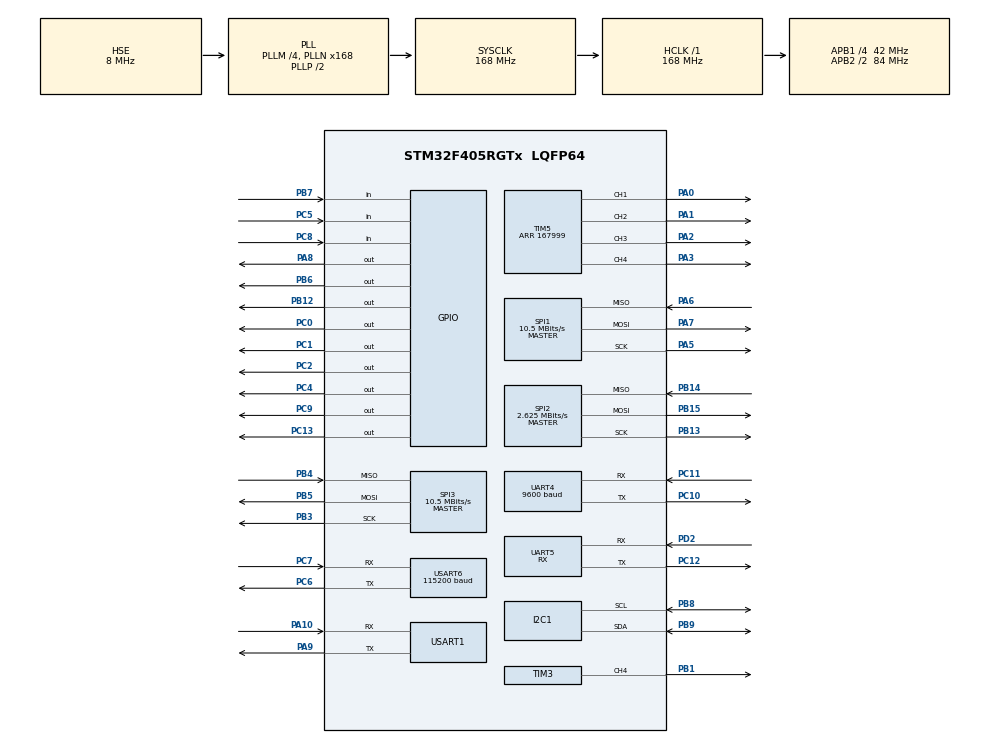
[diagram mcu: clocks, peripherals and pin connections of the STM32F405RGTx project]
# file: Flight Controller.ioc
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Mcu.Family=STM32F4
VP_TIM5_VS_ClockSourceINT.Mode=Internal
PA6.Mode=Full_Duplex_Master
PH0-OSC_IN.Signal=RCC_OSC_IN
RCC.CortexFreq_Value=168000000
SPI3.Direction=SPI_DIRECTION_2LINES
SPI3.VirtualType=VM_MASTER
SPI1.VirtualType=VM_MASTER
SPI2.VirtualType=VM_MASTER
PC10.Signal=UART4_TX
PC12.Signal=UART5_TX
SH.S_TIM5_CH2.0=TIM5_CH2,PWM Generation2 CH2
PB13.Signal=SPI2_SCK
PB15.Signal=SPI2_MOSI
TIM3.Channel-PWM\ Generation4\ CH4=TIM_CHANNEL_4
RCC.SYSCLKSource=RCC_SYSCLKSOURCE_PLLCLK
ProjectManager.StackSize=0x400
NVIC.UART5_IRQn=true\:0\:0\:false\:false\:true\:true\:true
VP_TIM7_VS_ClockSourceINT.Mode=Enable_Timer
Dma.USART1_TX.0.Priority=DMA_PRIORITY_LOW
SPI1.CLKPolarity=SPI_POLARITY_HIGH
SPI2.CLKPolarity=SPI_POLARITY_HIGH
Dma.USART1_TX.0.Direction=DMA_MEMORY_TO_PERIPH
SPI3.CLKPolarity=SPI_POLARITY_HIGH
SPI1.Direction=SPI_DIRECTION_2LINES
UART4.BaudRate=9600
RCC.HCLKFreq_Value=168000000
RCC.APB2TimFreq_Value=168000000
TIM3.Period=20
PB6.Signal=GPIO_Output
PC7.Signal=USART6_RX
SH.S_TIM5_CH3.0=TIM5_CH3,PWM Generation3 CH3
SPI1.CalculateBaudRate=10.5 MBits/s
TIM7.Period=1
RCC.AHBFreq_Value=168000000
SPI2.BaudRatePrescaler=SPI_BAUDRATEPRESCALER_16
TIM5.Pulse-PWM\ Generation1\ CH1=0
PH0-OSC_IN.Mode=HSE-External-Oscillator
RCC.HSE_VALUE=8000000
PB3.Mode=Full_Duplex_Master
PC13-ANTI_TAMP.Signal=GPIO_Output
PB4.Mode=Full_Duplex_Master
TIM5.Channel-PWM\ Generation4\ CH4=TIM_CHANNEL_4
PB14.Mode=Full_Duplex_Master
TIM3.Prescaler=999
TIM5.Pulse-PWM\ Generation3\ CH3=0
PB5.Mode=Full_Duplex_Master
SPI2.CalculateBaudRate=2.625 MBits/s
PB7.Signal=GPIO_Input
PA8.Signal=GPIO_Output
Dma.USART1_TX.0.PeriphDataAlignment=DMA_PDATAALIGN_BYTE
PH1-OSC_OUT.Mode=HSE-External-Oscillator
Mcu.Package=LQFP64
PB9.Signal=I2C1_SDA
PB1.Signal=S_TIM3_CH4
PA6.Signal=SPI1_MISO
NVIC.DMA2_Stream7_IRQn=true\:0\:0\:false\:false\:true\:false\:true
SPI2.Mode=SPI_MODE_MASTER
SPI3.Mode=SPI_MODE_MASTER
USART6.VirtualMode=VM_ASYNC
PA10.Signal=USART1_RX
Dma.USART1_TX.0.Instance=DMA2_Stream7
USART6.BaudRate=115200
TIM7.AutoReloadPreload=TIM_AUTORELOAD_PRELOAD_ENABLE
PC11.Mode=Asynchronous
Dma.USART1_TX.0.FIFOMode=DMA_FIFOMODE_DISABLE
SPI2.CLKPhase=SPI_PHASE_2EDGE
RCC.APB2CLKDivider=RCC_HCLK_DIV2
RCC.APB1TimFreq_Value=84000000
SH.S_TIM5_CH1.0=TIM5_CH1,PWM Generation1 CH1
SPI2.Direction=SPI_DIRECTION_2LINES
PC5.Signal=GPIO_Input
PB13.Mode=Full_Duplex_Master
TIM5.OCFastMode_PWM-PWM\ Generation4\ CH4=TIM_OCFAST_ENABLE
NVIC.USART1_IRQn=true\:0\:0\:false\:false\:true\:true\:true
Dma.Request0=USART1_TX
SPI1.BaudRatePrescaler=SPI_BAUDRATEPRESCALER_8
NVIC.TIM7_IRQn=true\:0\:0\:false\:false\:true\:true\:true
VP_TIM3_VS_ClockSourceINT.Mode=Internal
PB4.Signal=SPI3_MISO
PA3.Signal=S_TIM5_CH4
NVIC.UART4_IRQn=true\:0\:0\:false\:false\:true\:true\:true
PA5.Mode=Full_Duplex_Master
RCC.PLLSourceVirtual=RCC_PLLSOURCE_HSE
TIM5.Pulse-PWM\ Generation2\ CH2=0
Dma.USART1_TX.0.MemInc=DMA_MINC_ENABLE
PA7.Mode=Full_Duplex_Master
Dma.USART1_TX.0.PeriphInc=DMA_PINC_DISABLE
PA10.Mode=Asynchronous
TIM3.AutoReloadPreload=TIM_AUTORELOAD_PRELOAD_ENABLE
PC11.Signal=UART4_RX
PC8.Signal=GPIO_Input
PC2.Signal=GPIO_Output
PC4.Signal=GPIO_Output
PC6.Signal=USART6_TX
PC10.Mode=Asynchronous
TIM5.Channel-PWM\ Generation3\ CH3=TIM_CHANNEL_3
SPI1.CLKPhase=SPI_PHASE_2EDGE
UART5.VirtualMode=Asynchronous
PC0.Signal=GPIO_Output
RCC.APB1CLKDivider=RCC_HCLK_DIV4
UART4.VirtualMode=Asynchronous
PC13-ANTI_TAMP.PinState=GPIO_PIN_SET
TIM5.AutoReloadPreload=TIM_AUTORELOAD_PRELOAD_ENABLE
PA0-WKUP.Signal=S_TIM5_CH1
NVIC.USART6_IRQn=true\:0\:0\:false\:false\:true\:true\:true
PA9.Mode=Asynchronous
TIM5.OCFastMode_PWM-PWM\ Generation3\ CH3=TIM_OCFAST_ENABLE
ProjectManager.TargetToolchain=STM32CubeIDE
I2C1.I2C_Mode=I2C_Fast
PC6.Mode=Asynchronous
PB9.Mode=I2C
PA9.Signal=USART1_TX
RCC.LSE_VALUE=32768
PA1.Signal=S_TIM5_CH2
PB14.Signal=SPI2_MISO
PD2.Mode=Asynchronous
PA5.Signal=SPI1_SCK
PC12.Mode=Asynchronous
Dma.USART1_TX.0.Mode=DMA_NORMAL
TIM7.Prescaler=41999
board=custom
SPI3.CLKPhase=SPI_PHASE_2EDGE
RCC.VCOOutputFreq_Value=336000000
PB15.Mode=Full_Duplex_Master
RCC.APB2Freq_Value=84000000
SPI3.CalculateBaudRate=10.5 MBits/s
SPI1.Mode=SPI_MODE_MASTER
SPI3.BaudRatePrescaler=SPI_BAUDRATEPRESCALER_4
PH1-OSC_OUT.Signal=RCC_OSC_OUT
SH.S_TIM5_CH4.0=TIM5_CH4,PWM Generation4 CH4
UART5.Mode=MODE_RX
Mcu.Name=STM32F405RGTx
PA2.Signal=S_TIM5_CH3
TIM5.OCFastMode_PWM-PWM\ Generation1\ CH1=TIM_OCFAST_ENABLE
RCC.48MHZClocksFreq_Value=84000000
PB3.Signal=SPI3_SCK
TIM3.OCFastMode_PWM-PWM\ Generation4\ CH4=TIM_OCFAST_ENABLE
TIM5.Channel-PWM\ Generation2\ CH2=TIM_CHANNEL_2
RCC.SYSCLKFreq_VALUE=168000000
PB5.Signal=SPI3_MOSI
USART1.VirtualMode=VM_ASYNC
Dma.USART1_TX.0.MemDataAlignment=DMA_MDATAALIGN_BYTE
TIM5.Channel-PWM\ Generation1\ CH1=TIM_CHANNEL_1
ProjectManager.HeapSize=0x200
RCC.HSI_VALUE=16000000
NVIC.PriorityGroup=NVIC_PRIORITYGROUP_4
RCC.PLLM=4
PB8.Mode=I2C
RCC.PLLN=168
PB8.Signal=I2C1_SCL
TIM5.Period=167999
PC9.Signal=GPIO_Output
PC7.Mode=Asynchronous
PD2.Signal=UART5_RX
RCC.APB1Freq_Value=42000000
TIM3.Pulse-PWM\ Generation4\ CH4=10
PC1.Signal=GPIO_Output
PB12.Signal=GPIO_Output
SH.S_TIM3_CH4.0=TIM3_CH4,PWM Generation4 CH4
PA7.Signal=SPI1_MOSI

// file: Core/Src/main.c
/* USER CODE BEGIN Header */
/**
  ******************************************************************************
  * @file           : main.c
  * @brief          : Main program body
  ******************************************************************************
  * @attention
  *
  * <h2><center>&copy; Copyright (c) 2021 STMicroelectronics.
  * All rights reserved.</center></h2>
  *
  * This software component is licensed by ST under BSD 3-Clause license,
  * the "License"; You may not use this file except in compliance with the
  * License. You may obtain a copy of the License at:
  *                        opensource.org/licenses/BSD-3-Clause
  *
  ******************************************************************************
  */
/* USER CODE END Header */
#include "main.h"
#include "dma.h"
#include "i2c.h"
#include "spi.h"
#include "tim.h"
#include "usart.h"
#include "gpio.h"

/* USER CODE BEGIN Includes */
#include "bno080.h"
#include "quaternion.h"
#include "icm20602.h"
#include "FS-iA6B.h"
#include "pid control.h"
#include <string.h>
#include "AT24C08.h"
#include "lps22hh.h"
#include "M8N.h"
#include "XAVIER.h"
/* USER CODE END Includes */

/* USER CODE BEGIN PTD */
int _write(int file, char* p, int len)
{
	for(int i=0;i<len;i++)
	{
		while(!LL_USART_IsActiveFlag_TXE(USART6));
		LL_USART_TransmitData8(USART6, *(p+i));
		HAL_Delay(1);
	}
}

/* USER CODE END PTD */

/* USER CODE BEGIN PV */
extern uint8_t uart6_rx_flag;
extern uint8_t uart6_rx_data;

extern uint8_t m8n_rx_buf[36];
extern uint8_t m8n_rx_cplt_flag;

extern uint8_t ibus_rx_buf[32];
extern uint8_t ibus_rx_cplt_flag;

extern uint8_t uart1_rx_data;

extern uint8_t tim7_1ms_flag;
extern uint8_t tim7_20ms_flag;
extern uint8_t tim7_100ms_flag;
extern uint8_t tim7_1000ms_flag;

unsigned char failsafe_flag = 0;
unsigned char low_bat_flag = 0;

uint8_t telemetry_tx_buf[40];
uint8_t telemetry_rx_buf[20];
uint8_t telemetry_rx_cplt_flag;

extern uint8_t nx_rx_cplt_flag;
extern uint8_t nx_rx_buf;

float last_altitude;
float altitude_filt;
float baro_offset = 0;
signed int gps_height_offset = 0;
float batVolt;

float pressure_total_average = 0;
float pressure_rotating_mem[20] = {0, 0, 0, 0, 0, 0, 0, 0, 0, 0, 0, 0, 0, 0, 0, 0, 0, 0, 0, 0};
int pressure_rotating_mem_location = 0;
float actual_pressure_diff;
float actual_pressure_fast = 0, actual_pressure_slow = 0;

uint8_t ccr[18];
unsigned int ccr1 ,ccr2, ccr3, ccr4;

float theta, theta_radian;

/* USER CODE END PV */

void SystemClock_Config(void);
/* USER CODE BEGIN PFP */
int Is_iBus_Throttle_min(void);
void ESC_Calibration(void);
int Is_iBus_Received(void);
void BNO080_Calibration(void);
float Sensor_fusion(float, float, float);

void Encode_Msg_AHRS(unsigned char* telemetry_tx_buf);
void Encode_Msg_GPS(unsigned char* telemetry_tx_buf);
void Encode_Msg_Altitude(unsigned char* telemetry_tx_buf);
void Encode_Msg_PID_Gain(unsigned char* telemetry_tx_buf, unsigned char id, float p, float i, float d);

/* USER CODE END PFP */

int main(void)
{
  /* USER CODE BEGIN 1 */
float q[4];
float quatRadianAccuracy;
short gyro_x_offset = -6, gyro_y_offset = -19, gyro_z_offset = 4;
unsigned char motor_arming_flag = 0;
unsigned short iBus_SwA_Prev = 0;
unsigned char iBus_rx_cnt = 0;
float yaw_heading_reference;

unsigned int landing_throttle = 38640;
int manual_throttle;
int gps_cnt = 0;
int baro_cnt = 0;

unsigned int last_lon;
unsigned int last_lat;
uint8_t mode = 0;
float BNO080_Pitch_Offset = 1.1f;
float BNO080_Roll_Offset = 0;

  /* USER CODE END 1 */

  /* MCU Configuration--------------------------------------------------------*/

  /* Reset of all peripherals, Initializes the Flash interface and the Systick. */
  HAL_Init();

  /* Configure the system clock */
  SystemClock_Config();

  /* Initialize all configured peripherals */
  MX_GPIO_Init();
  MX_DMA_Init();
  MX_TIM3_Init();
  MX_USART6_UART_Init();
  MX_SPI2_Init();
  MX_SPI1_Init();
  MX_UART5_Init();
  MX_TIM5_Init();
  MX_TIM7_Init();
  MX_USART1_UART_Init();
  MX_SPI3_Init();
  MX_I2C1_Init();
  MX_UART4_Init();
  /* USER CODE BEGIN 2 */
  LL_TIM_EnableCounter(TIM3); //Buzzer

  LL_USART_EnableIT_RXNE(UART4); //GPS
  LL_USART_EnableIT_RXNE(UART5); //FS-iA6B;
  LL_USART_EnableIT_RXNE(USART6); //Debug UART

  HAL_UART_Receive_IT(&huart1, &uart1_rx_data, 1); // Telemetry

  LL_TIM_EnableCounter(TIM5); //Motor PWM
  LL_TIM_CC_EnableChannel(TIM5, LL_TIM_CHANNEL_CH1); //Enable Timer Counting
  LL_TIM_CC_EnableChannel(TIM5, LL_TIM_CHANNEL_CH2); //Enable Timer Counting
  LL_TIM_CC_EnableChannel(TIM5, LL_TIM_CHANNEL_CH3); //Enable Timer Counting
  LL_TIM_CC_EnableChannel(TIM5, LL_TIM_CHANNEL_CH4); //Enable Timer Counting

  LL_TIM_EnableCounter(TIM7); //10Hz, 50Hz, 1kHz loop
  LL_TIM_EnableIT_UPDATE(TIM7);

  TIM3->PSC = 1000;
  LL_TIM_CC_EnableChannel(TIM3, LL_TIM_CHANNEL_CH4);
  HAL_Delay(60);
  LL_TIM_CC_DisableChannel(TIM3, LL_TIM_CHANNEL_CH4);
  HAL_Delay(60);
  LL_TIM_CC_EnableChannel(TIM3, LL_TIM_CHANNEL_CH4);
  HAL_Delay(60);
  LL_TIM_CC_DisableChannel(TIM3, LL_TIM_CHANNEL_CH4);
  HAL_Delay(60);

  printf("Checking sensor connection!\n");

  if(BNO080_Initialization() != 0)
  {
	  LL_TIM_CC_EnableChannel(TIM3, LL_TIM_CHANNEL_CH4);

	  TIM3->PSC = 1000;
	  HAL_Delay(100);
	  TIM3->PSC = 1500;
	  HAL_Delay(100);
	  TIM3->PSC = 2000;
	  HAL_Delay(100);

	  LL_TIM_CC_DisableChannel(TIM3, LL_TIM_CHANNEL_CH4);

	  printf("\nBNO080 failed. Program shutting down...");
	  while(1)
	  {
		  LL_TIM_CC_DisableChannel(TIM3, LL_TIM_CHANNEL_CH4);
		  LL_GPIO_TogglePin(GPIOC, LL_GPIO_PIN_0);
		  HAL_Delay(200);
		  LL_TIM_CC_EnableChannel(TIM3, LL_TIM_CHANNEL_CH4);
		  LL_GPIO_TogglePin(GPIOC, LL_GPIO_PIN_0);
		  HAL_Delay(200);
	  }
  }
  BNO080_enableRotationVector(2500);

  if(ICM20602_Initialization() !=0 )
  {
	  LL_TIM_CC_EnableChannel(TIM3, LL_TIM_CHANNEL_CH4); //Enable Timer Counting

	  	  TIM3->PSC = 1000;
	  	  HAL_Delay(100);
	  	  TIM3->PSC = 1500;
	  	  HAL_Delay(100);
	  	  TIM3->PSC = 2000;
	  	  HAL_Delay(100);

	  	  LL_TIM_CC_DisableChannel(TIM3, LL_TIM_CHANNEL_CH4);

	  	  printf("\nICM20602 failed. Program shutting down...");
	  	  while(1)
	  	  {
	  		  LL_TIM_CC_DisableChannel(TIM3, LL_TIM_CHANNEL_CH4);
	  		  LL_GPIO_TogglePin(GPIOC, LL_GPIO_PIN_1);
	  		  HAL_Delay(200);
	  		  LL_TIM_CC_EnableChannel(TIM3, LL_TIM_CHANNEL_CH4);
	  		  LL_GPIO_TogglePin(GPIOC, LL_GPIO_PIN_1);
	  		  HAL_Delay(200);
	  	  }
  }

  /*LPS22HH Initialization*/
  if(LPS22HH_Initialization() != 0)
    {
  	  LL_TIM_CC_EnableChannel(TIM3, LL_TIM_CHANNEL_CH4);

  	  TIM3->PSC = 1000;
  	  HAL_Delay(100);
  	  TIM3->PSC = 1500;
  	  HAL_Delay(100);
  	  TIM3->PSC = 2000;
  	  HAL_Delay(100);

  	  LL_TIM_CC_DisableChannel(TIM3, LL_TIM_CHANNEL_CH4);

  	  printf("\nLPS22HH failed. Program shutting down...");
  	  while(1)
  	  {
  		  LL_TIM_CC_DisableChannel(TIM3, LL_TIM_CHANNEL_CH4);
  		  LL_GPIO_TogglePin(GPIOC, LL_GPIO_PIN_2);
  		  HAL_Delay(200);
  		  LL_TIM_CC_EnableChannel(TIM3, LL_TIM_CHANNEL_CH4);
  		  LL_GPIO_TogglePin(GPIOC, LL_GPIO_PIN_2);
  		  HAL_Delay(200);
  	  }
    }

  /*GNSS Initialization*/
  M8N_Initialization();

  /*ICM20602 Initial Bias Correction*/
//  for(int i=0; i<250; i++)
//  {
//	  ICM20602_Get3AxisGyroRawData(&ICM20602.gyro_x_raw);
//
//	  ICM20602.gyro_x = ICM20602.gyro_x_raw * 2000.f / 32768.f;
//	  ICM20602.gyro_y = ICM20602.gyro_y_raw * 2000.f / 32768.f;
//	  ICM20602.gyro_z = ICM20602.gyro_z_raw * 2000.f / 32768.f;
//
//	  ICM20602.gyro_x = -ICM20602.gyro_x;
//	  ICM20602.gyro_z = -ICM20602.gyro_z;
//
//	  gyro_x_offset += ICM20602.gyro_x;
//	  gyro_y_offset += ICM20602.gyro_y;
//	  gyro_z_offset += ICM20602.gyro_z;
//
//	  HAL_Delay(2);
//  }
//  gyro_x_offset = gyro_x_offset/250.f;
//  gyro_y_offset = gyro_y_offset/250.f;
//  gyro_z_offset = gyro_z_offset/250.f;
//
//  HAL_Delay(5);

  ICM20602_Writebyte(0x13, (gyro_x_offset*-2)>>8);
  ICM20602_Writebyte(0x14, (gyro_x_offset*-2));

  ICM20602_Writebyte(0x15, (gyro_y_offset*-2)>>8);
  ICM20602_Writebyte(0x16, (gyro_y_offset*-2));

  ICM20602_Writebyte(0x17, (gyro_z_offset*-2)>>8);
  ICM20602_Writebyte(0x18, (gyro_z_offset*-2));

  printf("All sensor OK!\n\n");

  /*************Save Initial Gain into EEPROM**************/

EP_PIDGain_Read(0, &roll.in.kp, &roll.in.ki, &roll.in.kd);
Encode_Msg_PID_Gain(&telemetry_tx_buf[0], 0, roll.in.kp, roll.in.ki, roll.in.kd);
HAL_UART_Transmit(&huart1, &telemetry_tx_buf[0], 20, 10);

EP_PIDGain_Read(1, &roll.out.kp, &roll.out.ki, &roll.out.kd);
Encode_Msg_PID_Gain(&telemetry_tx_buf[0], 1, roll.out.kp, roll.out.ki, roll.out.kd);
HAL_UART_Transmit(&huart1, &telemetry_tx_buf[0], 20, 10);

EP_PIDGain_Read(2, &pitch.in.kp, &pitch.in.ki, &pitch.in.kd);
Encode_Msg_PID_Gain(&telemetry_tx_buf[0], 2, pitch.in.kp, pitch.in.ki, pitch.in.kd);
HAL_UART_Transmit(&huart1, &telemetry_tx_buf[0], 20, 10);

EP_PIDGain_Read(3, &pitch.out.kp, &pitch.out.ki, &pitch.out.kd);
Encode_Msg_PID_Gain(&telemetry_tx_buf[0], 3, pitch.out.kp, pitch.out.ki, pitch.out.kd);
HAL_UART_Transmit(&huart1, &telemetry_tx_buf[0], 20, 10);

EP_PIDGain_Read(4, &yaw_heading.kp, &yaw_heading.ki, &yaw_heading.kd);
Encode_Msg_PID_Gain(&telemetry_tx_buf[0], 4, yaw_heading.kp, yaw_heading.ki, yaw_heading.kd);
HAL_UART_Transmit(&huart1, &telemetry_tx_buf[0], 20, 10);

EP_PIDGain_Read(5, &yaw_rate.kp, &yaw_rate.ki, &yaw_rate.kd);
Encode_Msg_PID_Gain(&telemetry_tx_buf[0], 5, yaw_rate.kp, yaw_rate.ki, yaw_rate.kd);
HAL_UART_Transmit(&huart1, &telemetry_tx_buf[0], 20, 10);

altitude.out.kp = 0.3;
altitude.out.ki = 0;
altitude.out.kd = 0;
altitude.in.kp = 150;
altitude.in.ki = 0.1;
altitude.in.kd = 0.1;

gps_lon.out.kp = 50;
gps_lon.out.ki = 0;
gps_lon.out.kd = 0;
gps_lon.in.kp = 2;
gps_lon.in.ki = 0;
gps_lon.in.kd = 0;

gps_lat.out.kp = 50;
gps_lat.out.ki = 0;
gps_lat.out.kd = 0;
gps_lat.in.kp = 2;
gps_lat.in.ki = 0;
gps_lat.in.kd = 0;

/*Receiver Detection*/
  while(Is_iBus_Received() == 0)
  {
	  LL_TIM_CC_EnableChannel(TIM3, LL_TIM_CHANNEL_CH4); //Enable Timer Counting
	  TIM3->PSC = 3000;
	  HAL_Delay(200);
	  LL_TIM_CC_DisableChannel(TIM3, LL_TIM_CHANNEL_CH4);

	  HAL_Delay(200);
  }

  /**************************ESC Calibration***********************************/
  if(iBus.SwC == 2000)
  {
	  LL_TIM_CC_EnableChannel(TIM3, LL_TIM_CHANNEL_CH4); //Enable Timer Counting
	  TIM3->PSC = 1500;
	  HAL_Delay(500);
	  TIM3->PSC = 2000;
	  HAL_Delay(500);
	  TIM3->PSC = 1500;
	  HAL_Delay(500);
	  TIM3->PSC = 2000;
	  HAL_Delay(500);
	  LL_TIM_CC_DisableChannel(TIM3, LL_TIM_CHANNEL_CH4);

	  ESC_Calibration();
	  while(iBus.SwC != 1000)
	  {
		  Is_iBus_Received();

		  LL_TIM_CC_EnableChannel(TIM3, LL_TIM_CHANNEL_CH4);
		  TIM3->PSC = 1500;
		  HAL_Delay(200);
		  TIM3->PSC = 2000;
		  HAL_Delay(200);
		  LL_TIM_CC_DisableChannel(TIM3, LL_TIM_CHANNEL_CH4);
	  }
  }

  /**************************BNO080 Calibration********************************/
  else if(iBus.SwC == 1500)
  {
	  LL_TIM_CC_EnableChannel(TIM3, LL_TIM_CHANNEL_CH4); //Enable Timer Counting
	  TIM3->PSC = 1500;
	  HAL_Delay(500);
	  TIM3->PSC = 2000;
	  HAL_Delay(500);
	  TIM3->PSC = 1500;
	  HAL_Delay(500);
	  TIM3->PSC = 2000;
	  HAL_Delay(500);
	  LL_TIM_CC_DisableChannel(TIM3, LL_TIM_CHANNEL_CH4);

	  BNO080_Calibration();
	  while(iBus.SwC != 1000)
	  	  {
	  		  Is_iBus_Received();

	  		  LL_TIM_CC_EnableChannel(TIM3, LL_TIM_CHANNEL_CH4);
	  		  TIM3->PSC = 1500;
	  		  HAL_Delay(200);
	  		  TIM3->PSC = 2000;
	  		  HAL_Delay(200);
	  		  LL_TIM_CC_DisableChannel(TIM3, LL_TIM_CHANNEL_CH4);
	  	  }
  }

  /*********************Check Throttle value is minimum************************/
  while(Is_iBus_Throttle_min() == 0 || iBus.SwA == 2000)
  {
	  LL_TIM_CC_EnableChannel(TIM3, LL_TIM_CHANNEL_CH4); //Enable Timer Counting
	  TIM3->PSC = 1000;
	  HAL_Delay(70);
	  LL_TIM_CC_DisableChannel(TIM3, LL_TIM_CHANNEL_CH4);
	  HAL_Delay(70);
  }

  /*LPS22HH Initial Offset*/
  for(int i=0; i<20; i++)
  {
	  if(LPS22HH_DataReady() == 1)
	  {
		  LPS22HH_GetPressure(&LPS22HH.pressure_raw);
		  LPS22HH_GetTemperature(&LPS22HH.temperature_raw);

		  //Default Unit = 1m
		  LPS22HH.baroAlt = getAltitude2(LPS22HH.pressure_raw/4096.f, LPS22HH.temperature_raw/100.f);
		  baro_offset += LPS22HH.baroAlt;
		  HAL_Delay(100);

		  baro_cnt++;
	  }
  }

  baro_offset = baro_offset / baro_cnt;

//  for(int i=0; i<50; i++)
//  {
//	  if(m8n_rx_cplt_flag == 1) // GPS receive checking
//	  {
//		  m8n_rx_cplt_flag == 0;
//
//		  if(M8N_UBX_CHKSUM_Check(&m8n_rx_buf[0], 36) == 1)
//		  {
//			  //LL_GPIO_TogglePin(GPIOC, LL_GPIO_PIN_2);
//			  M8N_UBX_NAV_POSLLH_Parsing(&m8n_rx_buf[0], &posllh);
//			  gps_cnt++;
//			  //		  printf("%d %ld %ld %d %d %d %ld\n", mode, posllh.lat, posllh.lon, (int)LPS22HH.baroAltFilt, (int)BNO080_Yaw, (int)XAVIER.mode, XAVIER.lat)
//		  }
//	  }
//	  HAL_Delay(200);
//	  gps_height_offset += posllh.height;
//  }
//
//  gps_height_offset /= gps_cnt;

  /********************* FC Ready to Fly ************************/

  LL_TIM_CC_EnableChannel(TIM3, LL_TIM_CHANNEL_CH4); //Enable Timer Counting

  TIM3->PSC = 2000;
  HAL_Delay(100);
  TIM3->PSC = 1500;
  HAL_Delay(100);
  TIM3->PSC = 1000;
  HAL_Delay(100);

  LL_TIM_CC_DisableChannel(TIM3, LL_TIM_CHANNEL_CH4);

  printf("Start\n");

  /* USER CODE END 2 */

  /* Infinite loop */
  while (1)
  {

    /* USER CODE BEGIN 3 */
//	  printf("%2f \n", actual_pressure_fast);
	  /********************* NX Message Parsing ************************/
//	  if(nx_rx_cplt_flag==1)
//	  {
//		  nx_rx_cplt_flag=0;
//
//		  XAVIER_Parsing(&nx_rx_buf, &XAVIER);
//	  }

	  /********************* GPS Data Parsing ************************/
	  if(m8n_rx_cplt_flag == 1) // GPS receive checking
	  {
		  m8n_rx_cplt_flag == 0;

		  if(M8N_UBX_CHKSUM_Check(&m8n_rx_buf[0], 36) == 1)
		  {
			  LL_GPIO_TogglePin(GPIOC, LL_GPIO_PIN_2);
			  M8N_UBX_NAV_POSLLH_Parsing(&m8n_rx_buf[0], &posllh);
			  posllh.height -= gps_height_offset;

			  if((posllh.lon - posllh.lon_prev > 500) || (posllh.lon - posllh.lon_prev < -500)) posllh.lon = posllh.lon_prev;
			  if((posllh.lat - posllh.lat_prev > 500) || (posllh.lat - posllh.lat_prev < -500)) posllh.lat = posllh.lat_prev;

			  posllh.lon_prev = posllh.lon;
			  posllh.lat_prev = posllh.lat;
		  }
	  }

	  /********************* Telemetry Communication ************************/
	  if(telemetry_rx_cplt_flag == 1) //Receive GCS Message
	  	  {
	  		  telemetry_rx_cplt_flag = 0;

	  		  if(iBus.SwA == 1000) //Check FS-i6 Switch A
	  		  {
	  			  unsigned char chksum = 0xff;
	  			  for(int i=0;i<19;i++) chksum = chksum - telemetry_rx_buf[i];

	  			  if(chksum == telemetry_rx_buf[19]) //Check checksum of GCS Message
	  			  {
	  				  LL_TIM_CC_EnableChannel(TIM3, LL_TIM_CHANNEL_CH4);

	  				  TIM3->PSC = 1000;
	  				  HAL_Delay(10);

	  				  LL_TIM_CC_DisableChannel(TIM3, LL_TIM_CHANNEL_CH4);

	  				  switch(telemetry_rx_buf[2]) //Check ID of GCS Message
	  				  {
	  				  case 0:
	  					  roll.in.kp = *(float*)&telemetry_rx_buf[3];
	  					  roll.in.ki = *(float*)&telemetry_rx_buf[7];
	  					  roll.in.kd = *(float*)&telemetry_rx_buf[11];
	  					  EP_PIDGain_Write(telemetry_rx_buf[2], roll.in.kp, roll.in.ki, roll.in.kd);
	  					  EP_PIDGain_Read(telemetry_rx_buf[2], &roll.in.kp, &roll.in.ki, &roll.in.kd);
	  					  Encode_Msg_PID_Gain(&telemetry_tx_buf[0], telemetry_rx_buf[2], roll.in.kp, roll.in.ki, roll.in.kd);
	  					  HAL_UART_Transmit_IT(&huart1, &telemetry_tx_buf[0], 20);
	  					  break;
	  				  case 1:
	  					  roll.out.kp = *(float*)&telemetry_rx_buf[3];
	  					  roll.out.ki = *(float*)&telemetry_rx_buf[7];
	  					  roll.out.kd = *(float*)&telemetry_rx_buf[11];
	  					  EP_PIDGain_Write(telemetry_rx_buf[2], roll.out.kp, roll.out.ki, roll.out.kd);
	  					  EP_PIDGain_Read(telemetry_rx_buf[2], &roll.out.kp, &roll.out.ki, &roll.out.kd);
	  					  Encode_Msg_PID_Gain(&telemetry_tx_buf[0], telemetry_rx_buf[2], roll.out.kp, roll.out.ki, roll.out.kd);
	  					  HAL_UART_Transmit_IT(&huart1, &telemetry_tx_buf[0], 20);
	  					  break;
	  				  case 2:
	  					  pitch.in.kp = *(float*)&telemetry_rx_buf[3];
	  					  pitch.in.ki = *(float*)&telemetry_rx_buf[7];
	  					  pitch.in.kd = *(float*)&telemetry_rx_buf[11];
	  					  EP_PIDGain_Write(telemetry_rx_buf[2], pitch.in.kp, pitch.in.ki, pitch.in.kd);
	  					  EP_PIDGain_Read(telemetry_rx_buf[2], &pitch.in.kp, &pitch.in.ki, &pitch.in.kd);
	  					  Encode_Msg_PID_Gain(&telemetry_tx_buf[0], telemetry_rx_buf[2], pitch.in.kp, pitch.in.ki, pitch.in.kd);
	  					  HAL_UART_Transmit_IT(&huart1, &telemetry_tx_buf[0], 20);
	  					  break;
	  				  case 3:
	  					  pitch.out.kp = *(float*)&telemetry_rx_buf[3];
	  					  pitch.out.ki = *(float*)&telemetry_rx_buf[7];
	  					  pitch.out.kd = *(float*)&telemetry_rx_buf[11];
	  					  EP_PIDGain_Write(telemetry_rx_buf[2], pitch.out.kp, pitch.out.ki, pitch.out.kd);
	  					  EP_PIDGain_Read(telemetry_rx_buf[2], &pitch.out.kp, &pitch.out.ki, &pitch.out.kd);
	  					  Encode_Msg_PID_Gain(&telemetry_tx_buf[0], telemetry_rx_buf[2], pitch.out.kp, pitch.out.ki, pitch.out.kd);
	  					  HAL_UART_Transmit_IT(&huart1, &telemetry_tx_buf[0], 20);
	  					  break;
	  				  case 4:
	  					  yaw_heading.kp = *(float*)&telemetry_rx_buf[3];
	  					  yaw_heading.ki = *(float*)&telemetry_rx_buf[7];
	  					  yaw_heading.kd = *(float*)&telemetry_rx_buf[11];
	  					  EP_PIDGain_Write(telemetry_rx_buf[2], yaw_heading.kp, yaw_heading.ki, yaw_heading.kd);
	  					  EP_PIDGain_Read(telemetry_rx_buf[2], &yaw_heading.kp, &yaw_heading.ki, &yaw_heading.kd);
	  					  Encode_Msg_PID_Gain(&telemetry_tx_buf[0], telemetry_rx_buf[2], yaw_heading.kp, yaw_heading.ki, yaw_heading.kd);
	  					  HAL_UART_Transmit_IT(&huart1, &telemetry_tx_buf[0], 20);
	  					  break;
	  				  case 5:
	  					  yaw_rate.kp = *(float*)&telemetry_rx_buf[3];
	  					  yaw_rate.ki = *(float*)&telemetry_rx_buf[7];
	  					  yaw_rate.kd = *(float*)&telemetry_rx_buf[11];
	  					  EP_PIDGain_Write(telemetry_rx_buf[2], yaw_rate.kp, yaw_rate.ki, yaw_rate.kd);
	  					  EP_PIDGain_Read(telemetry_rx_buf[2], &yaw_rate.kp, &yaw_rate.ki, &yaw_rate.kd);
	  					  Encode_Msg_PID_Gain(&telemetry_tx_buf[0], telemetry_rx_buf[2], yaw_rate.kp, yaw_rate.ki, yaw_rate.kd);
	  					  HAL_UART_Transmit_IT(&huart1, &telemetry_tx_buf[0], 20);
	  					  break;
	  				  case 0x10:
	  					  switch(telemetry_rx_buf[3]) //Check PID Gain ID of GCS PID Gain Request Message
	  					  {
	  					  case 0:
	  						  Encode_Msg_PID_Gain(&telemetry_tx_buf[0], telemetry_rx_buf[3], roll.in.kp, roll.in.ki, roll.in.kd);
	  						  HAL_UART_Transmit(&huart1, &telemetry_tx_buf[0], 20, 10);
	  						  break;
	  					  case 1:
	  						  Encode_Msg_PID_Gain(&telemetry_tx_buf[0], telemetry_rx_buf[3], roll.out.kp, roll.out.ki, roll.out.kd);
	  						  HAL_UART_Transmit(&huart1, &telemetry_tx_buf[0], 20, 10);
	  						  break;
	  					  case 2:
	  						  Encode_Msg_PID_Gain(&telemetry_tx_buf[0], telemetry_rx_buf[3], pitch.in.kp, pitch.in.ki, pitch.in.kd);
	  						  HAL_UART_Transmit(&huart1, &telemetry_tx_buf[0], 20, 10);
	  						  break;
	  					  case 3:
	  						  Encode_Msg_PID_Gain(&telemetry_tx_buf[0], telemetry_rx_buf[3], pitch.out.kp, pitch.out.ki, pitch.out.kd);
	  						  HAL_UART_Transmit(&huart1, &telemetry_tx_buf[0], 20, 10);
	  						  break;
	  					  case 4:
	  						  Encode_Msg_PID_Gain(&telemetry_tx_buf[0], telemetry_rx_buf[3], yaw_heading.kp, yaw_heading.ki, yaw_heading.kd);
	  						  HAL_UART_Transmit(&huart1, &telemetry_tx_buf[0], 20, 10);
	  						  break;
	  					  case 5:
	  						  Encode_Msg_PID_Gain(&telemetry_tx_buf[0], telemetry_rx_buf[3], yaw_rate.kp, yaw_rate.ki, yaw_rate.kd);
	  						  HAL_UART_Transmit(&huart1, &telemetry_tx_buf[0], 20, 10);
	  						  break;
	  					  case 6:
	  						  Encode_Msg_PID_Gain(&telemetry_tx_buf[0], 0, roll.in.kp, roll.in.ki, roll.in.kd);
	  						  HAL_UART_Transmit(&huart1, &telemetry_tx_buf[0], 20, 10);
	  						  Encode_Msg_PID_Gain(&telemetry_tx_buf[0], 1, roll.out.kp, roll.out.ki, roll.out.kd);
	  						  HAL_UART_Transmit(&huart1, &telemetry_tx_buf[0], 20, 10);
	  						  Encode_Msg_PID_Gain(&telemetry_tx_buf[0], 2, pitch.in.kp, pitch.in.ki, pitch.in.kd);
	  						  HAL_UART_Transmit(&huart1, &telemetry_tx_buf[0], 20, 10);
	  						  Encode_Msg_PID_Gain(&telemetry_tx_buf[0], 3, pitch.out.kp, pitch.out.ki, pitch.out.kd);
	  						  HAL_UART_Transmit(&huart1, &telemetry_tx_buf[0], 20, 10);
	  						  Encode_Msg_PID_Gain(&telemetry_tx_buf[0], 4, yaw_heading.kp, yaw_heading.ki, yaw_heading.kd);
	  						  HAL_UART_Transmit(&huart1, &telemetry_tx_buf[0], 20, 10);
	  						  Encode_Msg_PID_Gain(&telemetry_tx_buf[0], 5, yaw_rate.kp, yaw_rate.ki, yaw_rate.kd);
	  						  HAL_UART_Transmit(&huart1, &telemetry_tx_buf[0], 20, 10);
	  						  break;
	  					  }
	  					  break;
	  				  }
	  			  }
	  		  }
	  	  }

	  /********************* Flight Mode Detection / ESC Control / PID Calculation ************************/
	  if(tim7_1ms_flag==1)
	  {
		  tim7_1ms_flag = 0;

		  Double_Roll_Pitch_PID_Calculation(&pitch, (iBus.RV - 1500)*0.07f, BNO080_Pitch, ICM20602.gyro_x);
		  Double_Roll_Pitch_PID_Calculation(&roll, (iBus.RH - 1500)*0.07f, BNO080_Roll, ICM20602.gyro_y);

		  if(iBus.SwA == 2000 && iBus.SwB == 1000 && iBus.SwD == 2000 && iBus.LV < 1550 && iBus.LV > 1450) //Altitude Holding Mode
		  {
			  Double_Altitude_PID_Calculation(&altitude, last_altitude, actual_pressure_fast);

			  if(iBus.LH < 1485 || iBus.LH > 1515)
			  {
				  yaw_heading_reference = BNO080_Yaw;
				  Single_Yaw_Rate_PID_Calculation(&yaw_rate, (iBus.LH-1500), ICM20602.gyro_z);

				  ccr1 = 84000 + landing_throttle - pitch.in.pid_result + roll.in.pid_result -yaw_rate.pid_result+altitude.in.pid_result;
				  ccr2 = 84000 + landing_throttle + pitch.in.pid_result + roll.in.pid_result +yaw_rate.pid_result+altitude.in.pid_result;
				  ccr2 = (unsigned int)((float)ccr2 * 0.91f);
				  ccr3 = 84000 + landing_throttle + pitch.in.pid_result - roll.in.pid_result -yaw_rate.pid_result+altitude.in.pid_result;
				  ccr4 = 84000 + landing_throttle - pitch.in.pid_result - roll.in.pid_result +yaw_rate.pid_result+altitude.in.pid_result;
				  ccr4 = (unsigned int)((float)ccr4 * 0.91f);
			  }
			  else
			  {
				  Single_Yaw_Heading_PID_Calculation(&yaw_heading, yaw_heading_reference, BNO080_Yaw, ICM20602.gyro_z);
				  ccr1 = 84000 + landing_throttle - pitch.in.pid_result + roll.in.pid_result - yaw_heading.pid_result + altitude.in.pid_result;
				  ccr2 = 84000 + landing_throttle + pitch.in.pid_result + roll.in.pid_result + yaw_heading.pid_result + altitude.in.pid_result;
				  ccr2 = (unsigned int)((float)ccr2 * 0.91f);
				  ccr3 = 84000 + landing_throttle + pitch.in.pid_result - roll.in.pid_result - yaw_heading.pid_result + altitude.in.pid_result;
				  ccr4 = 84000 + landing_throttle - pitch.in.pid_result - roll.in.pid_result + yaw_heading.pid_result + altitude.in.pid_result;
				  ccr4 = (unsigned int)((float)ccr4 * 0.91f);
			  }
		  }

		  else if(iBus.SwA == 2000 && iBus.SwB == 2000 && iBus.LV < 1550 && iBus.LV > 1450) //GPS holding Mode
		  {
			  Double_GPS_PID_Calculation(&gps_lon, last_lon, posllh.lon);
			  Double_GPS_PID_Calculation(&gps_lat, last_lat, posllh.lat);
			  Double_Altitude_PID_Calculation(&altitude, last_altitude, actual_pressure_fast);

			  if ( (abs(iBus.RH-1500) < 50) && (abs(iBus.RV-1500) <50))
			  {
				  Single_Yaw_Heading_PID_Calculation(&yaw_heading, 0 , BNO080_Yaw, ICM20602.gyro_z);
				  ccr1 = 84000 + landing_throttle - gps_lon.in.pid_result * (-sin(theta_radian)) + gps_lat.in.pid_result * cos(theta_radian) + gps_lon.in.pid_result * cos(theta_radian) + gps_lat.in.pid_result * sin(theta_radian) -yaw_heading.pid_result  + altitude.in.pid_result;
				  ccr2 = 84000 + landing_throttle + gps_lon.in.pid_result * (-sin(theta_radian)) + gps_lat.in.pid_result * cos(theta_radian) + gps_lon.in.pid_result * cos(theta_radian) + gps_lat.in.pid_result * sin(theta_radian) +yaw_heading.pid_result  + altitude.in.pid_result;
				  ccr2 = (unsigned int)((float)ccr2 * 0.91f);
				  ccr3 = 84000 + landing_throttle + gps_lon.in.pid_result * (-sin(theta_radian)) + gps_lat.in.pid_result * cos(theta_radian) - gps_lon.in.pid_result * cos(theta_radian) + gps_lat.in.pid_result * sin(theta_radian) -yaw_heading.pid_result  + altitude.in.pid_result;
				  ccr4 = 84000 + landing_throttle - gps_lon.in.pid_result * (-sin(theta_radian)) + gps_lat.in.pid_result * cos(theta_radian) - gps_lon.in.pid_result * cos(theta_radian) + gps_lat.in.pid_result * sin(theta_radian) +yaw_heading.pid_result  + altitude.in.pid_result;
				  ccr4 = (unsigned int)((float)ccr4 * 0.91f);
			  }
			  else
			  {
				  ccr1 = 84000 + landing_throttle - pitch.in.pid_result + roll.in.pid_result - yaw_heading.pid_result + altitude.in.pid_result;
				  ccr2 = 84000 + landing_throttle + pitch.in.pid_result + roll.in.pid_result + yaw_heading.pid_result + altitude.in.pid_result;
				  ccr2 = (unsigned int)((float)ccr2 * 0.91f);
				  ccr3 = 84000 + landing_throttle + pitch.in.pid_result - roll.in.pid_result - yaw_heading.pid_result + altitude.in.pid_result;
				  ccr4 = 84000 + landing_throttle - pitch.in.pid_result - roll.in.pid_result + yaw_heading.pid_result + altitude.in.pid_result;
				  ccr4 = (unsigned int)((float)ccr4 * 0.91f);
			  }
		  }

		  else // Default Angle Mode
		  {
			  //			  if (iBus.LV < 1050)
			  //			  {
			  //				  ccr1 = 84000 + (iBus.LV - 1000) * 83.9;
			  //				  ccr2 = 84000 + (iBus.LV - 1000) * 83.9;
			  //				  ccr3 = 84000 + (iBus.LV - 1000) * 83.9;
			  //				  ccr4 = 84000 + (iBus.LV - 1000) * 83.9;
			  //			  }
			  //			  else
			  //			  {
			  if(iBus.LH < 1485 || iBus.LH > 1515)
			  {
				  yaw_heading_reference = BNO080_Yaw;
				  Single_Yaw_Rate_PID_Calculation(&yaw_rate, (iBus.LH-1500), ICM20602.gyro_z);

				  ccr1 = 84000 + (iBus.LV - 1000) * 83.9 - pitch.in.pid_result + roll.in.pid_result -yaw_rate.pid_result;
				  ccr2 = 84000 + (iBus.LV - 1000) * 83.9 + pitch.in.pid_result + roll.in.pid_result +yaw_rate.pid_result;
				  ccr2 = (unsigned int)((float)ccr2 * 0.91f);
				  ccr3 = 84000 + (iBus.LV - 1000) * 83.9 + pitch.in.pid_result - roll.in.pid_result -yaw_rate.pid_result;
				  ccr4 = 84000 + (iBus.LV - 1000) * 83.9 - pitch.in.pid_result - roll.in.pid_result +yaw_rate.pid_result;
				  ccr4 = (unsigned int)((float)ccr4 * 0.91f);
			  }
			  else
			  {
				  Single_Yaw_Heading_PID_Calculation(&yaw_heading, yaw_heading_reference, BNO080_Yaw, ICM20602.gyro_z);
				  ccr1 = 84000 + (iBus.LV - 1000) * 83.9 - pitch.in.pid_result + roll.in.pid_result -yaw_heading.pid_result;
				  ccr2 = 84000 + (iBus.LV - 1000) * 83.9 + pitch.in.pid_result + roll.in.pid_result +yaw_heading.pid_result;
				  ccr2 = (unsigned int)((float)ccr2 * 0.91f);
				  ccr3 = 84000 + (iBus.LV - 1000) * 83.9 + pitch.in.pid_result - roll.in.pid_result -yaw_heading.pid_result;
				  ccr4 = 84000 + (iBus.LV - 1000) * 83.9 - pitch.in.pid_result - roll.in.pid_result +yaw_heading.pid_result;
				  ccr4 = (unsigned int)((float)ccr4 * 0.91f);
			  }

			  last_lat = posllh.lat;
			  last_lon = posllh.lon;
			  last_altitude = actual_pressure_fast;
		  }
	  }

	  if(iBus.LV < 1030 || motor_arming_flag == 0)
	  {
		  Reset_All_PID_Integrator();
	  }

	  /********************* Motor Arming State ************************/
	  if(iBus.SwA == 2000 && iBus_SwA_Prev != 2000)
	  {
		  if(iBus.LV < 1010)
		  {
			  motor_arming_flag = 1;
			  yaw_heading_reference = BNO080_Yaw;

		  }
		  else
		  {
			  while(Is_iBus_Throttle_min() == 0 || iBus.SwA == 2000)
			  {
				  LL_TIM_CC_EnableChannel(TIM3, LL_TIM_CHANNEL_CH4); //Enable Timer Counting
				  TIM3->PSC = 1000;
				  HAL_Delay(70);
				  LL_TIM_CC_DisableChannel(TIM3, LL_TIM_CHANNEL_CH4);
				  HAL_Delay(70);
			  }
		  }
	  }
	  iBus_SwA_Prev = iBus.SwA;
	  if(iBus.SwA != 2000)
	  {
		  motor_arming_flag = 0;
	  }

	  if(motor_arming_flag == 1)
	  {
		  if(failsafe_flag == 0)
		  {
			  if(iBus.LV > 1050)
			  {
				  //			  printf("%d\t%d\t%d\t%d\n", ccr1, ccr2, ccr3, ccr4);
				  TIM5->CCR1 = ccr1 > 167999 ? 167999 : ccr1 < 84000 ? 84000 : ccr1;
				  TIM5->CCR2 = ccr2 > 167999 ? 167999 : ccr2 < 84000 ? 84000 : ccr2;
				  TIM5->CCR3 = ccr3 > 167999 ? 167999 : ccr3 < 84000 ? 84000 : ccr3;
				  TIM5->CCR4 = ccr4 > 167999 ? 167999 : ccr4 < 84000 ? 84000 : ccr4;
			  }
			  else
			  {
				  TIM5->CCR1 = 84000;
				  TIM5->CCR2 = 84000;
				  TIM5->CCR3 = 84000;
				  TIM5->CCR4 = 84000;
			  }
		  }
		  else
		  {
			  TIM5->CCR1 = 84000;
			  TIM5->CCR2 = 84000;
			  TIM5->CCR3 = 84000;
			  TIM5->CCR4 = 84000;
		  }
	  }

	  else
	  {
		  TIM5->CCR1 = 84000;
		  TIM5->CCR2 = 84000;
		  TIM5->CCR3 = 84000;
		  TIM5->CCR4 = 84000;
	  }

	  /********************* Telemetry Communication ************************/
	  if(tim7_20ms_flag == 1 && tim7_100ms_flag == 0)
	  {
		  tim7_20ms_flag = 0;
//		  Encode_Msg_AHRS(&telemetry_tx_buf[0]);
//		  HAL_UART_Transmit_IT(&huart1, &telemetry_tx_buf[0], 20);
	  }

	  else if(tim7_20ms_flag == 1 && tim7_100ms_flag == 1)
	  {
		  tim7_20ms_flag = 0;
		  tim7_100ms_flag = 0;
//		  Encode_Msg_AHRS(&telemetry_tx_buf[0]);
//		  Encode_Msg_GPS(&telemetry_tx_buf[20]);
//		  HAL_UART_Transmit_IT(&huart1, &telemetry_tx_buf[0], 40);
		  Encode_Msg_Altitude(&telemetry_tx_buf[0]);
		  HAL_UART_Transmit_DMA(&huart1, &telemetry_tx_buf[0], 14);
	  }

	  /***********************************************************************************************
	----------------------------Check BNO080 Sensor Value(current Angle Data)-----------------------
	   ***********************************************************************************************/
	  if(BNO080_dataAvailable() == 1)
	  {
		  q[0] = BNO080_getQuatI();
		  q[1] = BNO080_getQuatJ();
		  q[2] = BNO080_getQuatK();
		  q[3] = BNO080_getQuatReal();
		  quatRadianAccuracy = BNO080_getQuatRadianAccuracy();

		  Quaternion_Update(&q[0]);

		  BNO080_Roll = -BNO080_Roll;
		  BNO080_Roll -= BNO080_Roll_Offset;
		  BNO080_Pitch = -BNO080_Pitch;
		  BNO080_Pitch -= BNO080_Pitch_Offset;

		  float theta = 360.f - BNO080_Yaw;
		  float theta_radian = theta * 0.01745329252f;

//		  Check BNO080 Calibration value
//		  printf("%f\t%f\n", BNO080_Roll, BNO080_Pitch);
//		  printf("%.2f\n",BNO080_Yaw);
//		  printf("%d, %d, %d \n", (int)(BNO080_Roll*100), (int)(BNO080_Pitch*100), (int)(BNO080_Yaw*100));
	  }

	  /***********************************************************************************************
	----------------------Check ICM20602 Sensor Value(current Angular Velocity Data)------------------
	   ***********************************************************************************************/
	  if(ICM20602_DataReady() == 1)
	  {
		  ICM20602_Get3AxisGyroRawData(&ICM20602.gyro_x_raw);

		  // Gyro FS=2 (+500dps max)
		  ICM20602.gyro_x = ICM20602.gyro_x_raw / 65.5f;
		  ICM20602.gyro_y = ICM20602.gyro_y_raw / 65.5f;
		  ICM20602.gyro_z = ICM20602.gyro_z_raw / 65.5f;

		  ICM20602.gyro_x = -ICM20602.gyro_x;
		  ICM20602.gyro_z = -ICM20602.gyro_z;

//		  printf("%d, %d, %d \n", (int)ICM20602.gyro_x, (int)ICM20602.gyro_y, (int)ICM20602.gyro_z);
	  }

	  if(LPS22HH_DataReady() == 1)
	  {
		  LPS22HH_GetPressure(&LPS22HH.pressure_raw);
		  LPS22HH_GetTemperature(&LPS22HH.temperature_raw);

		  LPS22HH.baroAlt = getAltitude2(LPS22HH.pressure_raw/4096.f, LPS22HH.temperature_raw/100.f); //Default Unit = 1m

		  pressure_total_average -= pressure_rotating_mem[pressure_rotating_mem_location];
		  pressure_rotating_mem[pressure_rotating_mem_location] = LPS22HH.baroAlt - baro_offset;
		  pressure_total_average += pressure_rotating_mem[pressure_rotating_mem_location];
		  pressure_rotating_mem_location++;
		  if(pressure_rotating_mem_location ==20) pressure_rotating_mem_location = 0;
		  actual_pressure_fast = pressure_total_average / 20.0f;
		  actual_pressure_slow = actual_pressure_slow * 0.985f + actual_pressure_fast * 0.015f;

//		  actual_pressure_diff = actual_pressure_slow - actual_pressure_fast;
//		  if (actual_pressure_diff > 0.08f || actual_pressure_diff < -0.08f) actual_pressure_slow -= actual_pressure_fast / 6.0f;

//		  printf("%f, %f, %f\n", LPS22HH.baroAlt, baro_offset, actual_pressure_slow);
	  }

	  /***********************************************************************************************
	------------------------------Toggle Led if Checksum Data is right------------------------------
	   ***********************************************************************************************/
	  if(ibus_rx_cplt_flag==1)
	  {
		  ibus_rx_cplt_flag=0;
		  if(iBus_Check_CHKSUM(&ibus_rx_buf[0],32)==1)
		  {
			  LL_GPIO_TogglePin(GPIOC,LL_GPIO_PIN_2);

			  iBus_Parsing(&ibus_rx_buf, &iBus);
			  iBus_rx_cnt++;

			  if(iBus_isActiveFailSafe(&iBus) == 1)
			  {
				  failsafe_flag = 1;
			  }
			  else
			  {
				  failsafe_flag = 0;
			  }
		  }
	  }

	  if(tim7_1000ms_flag == 1)
	  {
		  tim7_1000ms_flag = 0;
		  if(iBus_rx_cnt == 0)
		  {
			  failsafe_flag = 2;
		  }
		  iBus_rx_cnt = 0;
	  }

	  if(failsafe_flag == 1 || failsafe_flag ==2 || low_bat_flag == 1)
	  {
		  LL_TIM_CC_EnableChannel(TIM3, LL_TIM_CHANNEL_CH4); //Buzzer On
	  }
	  else
	  {
		  LL_TIM_CC_DisableChannel(TIM3, LL_TIM_CHANNEL_CH4); //Buzzer Off
	  }
  }
  /* USER CODE END 3 */
}

void SystemClock_Config(void)
{
  RCC_OscInitTypeDef RCC_OscInitStruct = {0};
  RCC_ClkInitTypeDef RCC_ClkInitStruct = {0};

  /** Configure the main internal regulator output voltage
  */
  __HAL_RCC_PWR_CLK_ENABLE();
  __HAL_PWR_VOLTAGESCALING_CONFIG(PWR_REGULATOR_VOLTAGE_SCALE1);
  /** Initializes the RCC Oscillators according to the specified parameters
  * in the RCC_OscInitTypeDef structure.
  */
  RCC_OscInitStruct.OscillatorType = RCC_OSCILLATORTYPE_HSE;
  RCC_OscInitStruct.HSEState = RCC_HSE_ON;
  RCC_OscInitStruct.PLL.PLLState = RCC_PLL_ON;
  RCC_OscInitStruct.PLL.PLLSource = RCC_PLLSOURCE_HSE;
  RCC_OscInitStruct.PLL.PLLM = 4;
  RCC_OscInitStruct.PLL.PLLN = 168;
  RCC_OscInitStruct.PLL.PLLP = RCC_PLLP_DIV2;
  RCC_OscInitStruct.PLL.PLLQ = 4;
  if (HAL_RCC_OscConfig(&RCC_OscInitStruct) != HAL_OK)
  {
    Error_Handler();
  }
  /** Initializes the CPU, AHB and APB buses clocks
  */
  RCC_ClkInitStruct.ClockType = RCC_CLOCKTYPE_HCLK|RCC_CLOCKTYPE_SYSCLK
                              |RCC_CLOCKTYPE_PCLK1|RCC_CLOCKTYPE_PCLK2;
  RCC_ClkInitStruct.SYSCLKSource = RCC_SYSCLKSOURCE_PLLCLK;
  RCC_ClkInitStruct.AHBCLKDivider = RCC_SYSCLK_DIV1;
  RCC_ClkInitStruct.APB1CLKDivider = RCC_HCLK_DIV4;
  RCC_ClkInitStruct.APB2CLKDivider = RCC_HCLK_DIV2;

  if (HAL_RCC_ClockConfig(&RCC_ClkInitStruct, FLASH_LATENCY_5) != HAL_OK)
  {
    Error_Handler();
  }
}

/* USER CODE BEGIN 4 */
int Is_iBus_Throttle_min(void)
{
	if(ibus_rx_cplt_flag==1)
	{
		ibus_rx_cplt_flag=0;
		if(iBus_Check_CHKSUM(&ibus_rx_buf[0],32)==1)
		{
			iBus_Parsing(&ibus_rx_buf, &iBus);
			if(iBus.LV < 1010) return 1;
		}
	}

	return 0;
}

void ESC_Calibration(void)
{
	  TIM5->CCR1 = 167999;
	  TIM5->CCR2 = 167999;
	  TIM5->CCR3 = 167999;
	  TIM5->CCR4 = 167999;
	  HAL_Delay(7000);

	  TIM5->CCR1 = 84000;
	  TIM5->CCR2 = 84000;
	  TIM5->CCR3 = 84000;
	  TIM5->CCR4 = 84000;
	  HAL_Delay(8000);
}

int Is_iBus_Received(void)
{
	if(ibus_rx_cplt_flag==1)
		{
			ibus_rx_cplt_flag=0;
			if(iBus_Check_CHKSUM(&ibus_rx_buf[0],32)==1)
			{
				iBus_Parsing(&ibus_rx_buf, &iBus);
				return 1;
			}
		}
		return 0;
}

void BNO080_Calibration(void)
{
	//Resets BNO080 to disable All output
	BNO080_Initialization();

	//BNO080/BNO085 Configuration
	//Enable dynamic calibration for accelerometer, gyroscope, and magnetometer
	//Enable Game Rotation Vector output
	//Enable Magnetic Field output
	BNO080_calibrateAll(); //Turn on cal for Accel, Gyro, and Mag
	BNO080_enableGameRotationVector(20000); //Send data update every 20ms (50Hz)
	BNO080_enableMagnetometer(20000); //Send data update every 20ms (50Hz)

	//Once magnetic field is 2 or 3, run the Save DCD Now command
  	printf("Calibrating BNO080. Pull up FS-i6 SWC to end calibration and save to flash\n");
  	printf("Output in form x, y, z, in uTesla\n\n");

	//while loop for calibration procedure
	//Iterates until iBus.SwC is mid point (1500)
	//Calibration procedure should be done while this loop is in iteration.
	while(iBus.SwC == 1500)
	{
		if(BNO080_dataAvailable() == 1)
		{
			//Observing the status bit of the magnetic field output
			float x = BNO080_getMagX();
			float y = BNO080_getMagY();
			float z = BNO080_getMagZ();
			unsigned char accuracy = BNO080_getMagAccuracy();

			float quatI = BNO080_getQuatI();
			float quatJ = BNO080_getQuatJ();
			float quatK = BNO080_getQuatK();
			float quatReal = BNO080_getQuatReal();
			unsigned char sensorAccuracy = BNO080_getQuatAccuracy();

			printf("%f,%f,%f,", x, y, z);
			if (accuracy == 0) printf("Unreliable\t");
			else if (accuracy == 1) printf("Low\t");
			else if (accuracy == 2) printf("Medium\t");
			else if (accuracy == 3) printf("High\t");

			printf("\t%f,%f,%f,%f,", quatI, quatI, quatI, quatReal);
			if (sensorAccuracy == 0) printf("Unreliable\n");
			else if (sensorAccuracy == 1) printf("Low\n");
			else if (sensorAccuracy == 2) printf("Medium\n");
			else if (sensorAccuracy == 3) printf("High\n");

			//Turn the LED and buzzer on when both accuracy and sensorAccuracy is high
			if(accuracy == 3 && sensorAccuracy == 3)
			{
				LL_GPIO_SetOutputPin(GPIOC, LL_GPIO_PIN_0 | LL_GPIO_PIN_1 | LL_GPIO_PIN_2);
				TIM3->PSC = 65000; //Very low frequency
				LL_TIM_CC_EnableChannel(TIM3, LL_TIM_CHANNEL_CH4);
			}
			else
			{
				LL_GPIO_ResetOutputPin(GPIOC, LL_GPIO_PIN_0 | LL_GPIO_PIN_1 | LL_GPIO_PIN_2);
				LL_TIM_CC_DisableChannel(TIM3, LL_TIM_CHANNEL_CH4);
			}
		}

		Is_iBus_Received(); //Refreshes iBus Data for iBus.SwC
		HAL_Delay(100);
	}

	//Ends the loop when iBus.SwC is not mid point
	//Turn the LED and buzzer off
	LL_GPIO_ResetOutputPin(GPIOC, LL_GPIO_PIN_0 | LL_GPIO_PIN_1 | LL_GPIO_PIN_2);
	LL_TIM_CC_DisableChannel(TIM3, LL_TIM_CHANNEL_CH4);

	//Saves the current dynamic calibration data (DCD) to memory
	//Sends command to get the latest calibration status
	BNO080_saveCalibration();
	BNO080_requestCalibrationStatus();

	//Wait for calibration response, timeout if no response
	int counter = 100;
	while(1)
	{
		if(--counter == 0) break;
		if(BNO080_dataAvailable())
		{
			//The IMU can report many different things. We must wait
			//for the ME Calibration Response Status byte to go to zero
			if(BNO080_calibrationComplete() == 1)
			{
				printf("\nCalibration data successfully stored\n");
				LL_TIM_CC_EnableChannel(TIM3, LL_TIM_CHANNEL_CH4);
				TIM3->PSC = 2000;
				HAL_Delay(300);
				TIM3->PSC = 1500;
				HAL_Delay(300);
				LL_TIM_CC_DisableChannel(TIM3, LL_TIM_CHANNEL_CH4);
				HAL_Delay(1000);
				break;
			}
		}
		HAL_Delay(10);
	}
	if(counter == 0)
	{
		printf("\nCalibration data failed to store. Please try again.\n");
		LL_TIM_CC_EnableChannel(TIM3, LL_TIM_CHANNEL_CH4);
		TIM3->PSC = 1500;
		HAL_Delay(300);
		TIM3->PSC = 2000;
		HAL_Delay(300);
		LL_TIM_CC_DisableChannel(TIM3, LL_TIM_CHANNEL_CH4);
		HAL_Delay(1000);
	}

	//BNO080_endCalibration(); //Turns off all calibration
	//In general, calibration should be left on at all times. The BNO080
	//auto-calibrates and auto-records cal data roughly every 5 minutes

	//Resets BNO080 to disable Game Rotation Vector and Magnetometer
	//Enables Rotation Vector
	BNO080_Initialization();
	BNO080_enableRotationVector(2500); //Send data update every 2.5ms (400Hz)
}

void HAL_UART_RxCpltCallback(UART_HandleTypeDef *huart)
{
	static unsigned char cnt = 0;
	if(huart->Instance = USART1)
	{
		HAL_UART_Receive_IT(&huart1, &uart1_rx_data, 1);

		switch(cnt)
				{
				case 0:
					if(uart1_rx_data==0x47)
					{
						telemetry_rx_buf[cnt]=uart1_rx_data;
						cnt++;
					}
					break;
				case 1:
					if(uart1_rx_data==0x53)
					{
						telemetry_rx_buf[cnt]=uart1_rx_data;
						cnt++;
					}
					else
						cnt=0;
					break;

				case 19:
					telemetry_rx_buf[cnt]=uart1_rx_data;
					cnt=0;
					telemetry_rx_cplt_flag = 1;
					break;

				default:
					telemetry_rx_buf[cnt]=uart1_rx_data;
					cnt++;
					break;
				}
	}

}

void Encode_Msg_AHRS(unsigned char* telemetry_tx_buf)
{
	  telemetry_tx_buf[0] = 0x46;
	  telemetry_tx_buf[1] = 0x43;
	  telemetry_tx_buf[2] = 0x10;

	  telemetry_tx_buf[3] = (short)(BNO080_Roll*100);
	  telemetry_tx_buf[4] = ((short)(BNO080_Roll*100))>>8;

	  telemetry_tx_buf[5] = (short)(BNO080_Pitch*100);
	  telemetry_tx_buf[6] = ((short)(BNO080_Pitch*100))>>8;

	  telemetry_tx_buf[7] = (unsigned short)(BNO080_Yaw*100);
	  telemetry_tx_buf[8] = ((unsigned short)(BNO080_Yaw*100))>>8;

	  telemetry_tx_buf[9] = (short)(LPS22HH.baroAltFilt*10);
	  telemetry_tx_buf[10] = ((short)(LPS22HH.baroAltFilt*10))>>8;

	  telemetry_tx_buf[11] = (short)((iBus.RH-1500)*0.07f*100);
	  telemetry_tx_buf[12] = ((short)((iBus.RH-1500)*0.07f*100))>>8;

	  telemetry_tx_buf[13] = (short)((iBus.RV-1500)*0.07f*100);
	  telemetry_tx_buf[14] = ((short)((iBus.RV-1500)*0.07f*100))>>8;

	  telemetry_tx_buf[15] = (unsigned short)((iBus.LH-1000)*0.36f*100);
	  telemetry_tx_buf[16] = ((unsigned short)((iBus.LH-1000)*0.36f*100))>>8;

	  telemetry_tx_buf[17] = 0x00;
	  telemetry_tx_buf[18] = 0x00;

	  telemetry_tx_buf[19] = 0xff;

	  for(int i=0; i<19; i++)
	  {
		  telemetry_tx_buf[19] = telemetry_tx_buf[19] - telemetry_tx_buf[i];
	  }
}

void Encode_Msg_GPS(unsigned char* telemetry_tx_buf)
{
	  telemetry_tx_buf[0] = 0x46;
	  telemetry_tx_buf[1] = 0x43;
	  telemetry_tx_buf[2] = 0x10;

	  telemetry_tx_buf[3] = posllh.lat;
	  telemetry_tx_buf[4] = posllh.lat>>8;
	  telemetry_tx_buf[5] = posllh.lat>>16;
	  telemetry_tx_buf[6] = posllh.lat>>24;

	  telemetry_tx_buf[7] = posllh.lon;
	  telemetry_tx_buf[8] = posllh.lon>>8;
	  telemetry_tx_buf[9] = posllh.lon>>16;
	  telemetry_tx_buf[10] = posllh.lon>>24;

//	  telemetry_tx_buf[11] = (unsigned short)(bat.Volt*100);
//	  telemetry_tx_buf[12] = ((unsigned short)(bat.Volt*100))>>8;

	  telemetry_tx_buf[13] = iBus.SwA ==1000 ? 0 : 1;
	  telemetry_tx_buf[14] = iBus.SwC ==1000 ? 0 : iBus.SwC == 1500 ? 1 : 2;

	  telemetry_tx_buf[15] = iBus_isActiveFailSafe(&iBus);

	  telemetry_tx_buf[16] = 0x00;
	  telemetry_tx_buf[17] = 0x00;
	  telemetry_tx_buf[18] = 0x00;

	  telemetry_tx_buf[19] = 0xff;

	  for(int i=0; i<19; i++)
	  {
		  telemetry_tx_buf[19] = telemetry_tx_buf[19] - telemetry_tx_buf[i];
	  }
}

void Encode_Msg_PID_Gain(unsigned char* telemetry_tx_buf, unsigned char id, float p, float i, float d)
{
	  telemetry_tx_buf[0] = 0x46;
	  telemetry_tx_buf[1] = 0x43;
	  telemetry_tx_buf[2] = id;

//	  memcpy(telemetry_tx_buf[3], &p, 4);
//	  memcpy(telemetry_tx_buf[7], &i, 4);
//	  memcpy(telemetry_tx_buf[11], &d, 4);

	  *(float*)&telemetry_tx_buf[3] = p;
	  *(float*)&telemetry_tx_buf[7] = i;
	  *(float*)&telemetry_tx_buf[11] = d;

	  telemetry_tx_buf[15] = 0x00;
	  telemetry_tx_buf[16] = 0x00;
	  telemetry_tx_buf[17] = 0x00;
	  telemetry_tx_buf[18] = 0x00;

	  telemetry_tx_buf[19] = 0xff;

	  for(int i=0; i<19; i++)
	  {
		  telemetry_tx_buf[19] = telemetry_tx_buf[19] - telemetry_tx_buf[i];
	  }
}

float Sensor_fusion(float sensor1, float sensor2,float ratio)
{
	return sensor1 * ratio + sensor2 * (1.f - ratio);
}

void Encode_Msg_Motor(unsigned char* telemetry_tx_buf)
{
     telemetry_tx_buf[0] = 0x88;
     telemetry_tx_buf[1] = 0x18;

     telemetry_tx_buf[2] = ccr1 >> 24;
     telemetry_tx_buf[3] = ccr1 >> 16;
     telemetry_tx_buf[4] = ccr1 >> 8;
     telemetry_tx_buf[5] = ccr1;

     telemetry_tx_buf[6] = ccr2 >> 24;
     telemetry_tx_buf[7] = ccr2 >> 16;
     telemetry_tx_buf[8] = ccr2 >> 8;
     telemetry_tx_buf[9] = ccr2;

     telemetry_tx_buf[10] = ccr3 >> 24;
     telemetry_tx_buf[11] = ccr3 >> 16;
     telemetry_tx_buf[12] = ccr3 >> 8;
     telemetry_tx_buf[13] = ccr3;

     telemetry_tx_buf[14] = ccr4 >> 24;
     telemetry_tx_buf[15] = ccr4 >> 16;
     telemetry_tx_buf[16] = ccr4 >> 8;
     telemetry_tx_buf[17] = ccr4;

     telemetry_tx_buf[18] = iBus.LV >> 8;
     telemetry_tx_buf[19] = iBus.LV;

     telemetry_tx_buf[20] = ((int)pitch.in.pid_result) >> 24;
     telemetry_tx_buf[21] = ((int)pitch.in.pid_result) >> 16;
     telemetry_tx_buf[22] = ((int)pitch.in.pid_result) >> 8;
     telemetry_tx_buf[23] = ((int)pitch.in.pid_result);

     telemetry_tx_buf[24] = ((int)roll.in.pid_result) >> 24;
     telemetry_tx_buf[25] = ((int)roll.in.pid_result) >> 16;
     telemetry_tx_buf[26] = ((int)roll.in.pid_result) >> 8;
     telemetry_tx_buf[27] = ((int)roll.in.pid_result);

     telemetry_tx_buf[28] = ((int)yaw_heading.pid_result) >> 24;
     telemetry_tx_buf[29] = ((int)yaw_heading.pid_result) >> 16;
     telemetry_tx_buf[30] = ((int)yaw_heading.pid_result) >> 8;
     telemetry_tx_buf[31] = ((int)yaw_heading.pid_result);

//     telemetry_tx_buf[32] = ((int)altitude_filt) >> 24;
//     telemetry_tx_buf[33] = ((int)altitude_filt) >> 16;
//     telemetry_tx_buf[34] = ((int)altitude_filt) >> 8;
//     telemetry_tx_buf[35] = ((int)altitude_filt);

     telemetry_tx_buf[32] = ((int)actual_pressure_fast) >> 24;
     telemetry_tx_buf[33] = ((int)actual_pressure_fast) >> 16;
     telemetry_tx_buf[34] = ((int)actual_pressure_fast) >> 8;
     telemetry_tx_buf[35] = ((int)actual_pressure_fast);
}

void Encode_Msg_Altitude(unsigned char* telemetry_tx_buf)
{
	telemetry_tx_buf[0] = 0x88;
	telemetry_tx_buf[1] = 0x18;

	telemetry_tx_buf[2] = ((int)actual_pressure_fast) >> 24;
	telemetry_tx_buf[3] = ((int)actual_pressure_fast) >> 16;
	telemetry_tx_buf[4] = ((int)actual_pressure_fast) >> 8;
	telemetry_tx_buf[5] = ((int)actual_pressure_fast);

	telemetry_tx_buf[6] = ((int)last_altitude) >> 24;
	telemetry_tx_buf[7] = ((int)last_altitude) >> 16;
	telemetry_tx_buf[8] = ((int)last_altitude) >> 8;
	telemetry_tx_buf[9] = ((int)last_altitude);

	telemetry_tx_buf[10] = ((int)(altitude.out.error)) >> 24;
	telemetry_tx_buf[11] = ((int)(altitude.out.error)) >> 16;
	telemetry_tx_buf[12] = ((int)(altitude.out.error)) >> 8;
	telemetry_tx_buf[13] = ((int)(altitude.out.error));

}
/* USER CODE END 4 */

void Error_Handler(void)
{
  __disable_irq();
  while (1)
  {
  }
}

/************************ (C) COPYRIGHT STMicroelectronics *****END OF FILE****/
